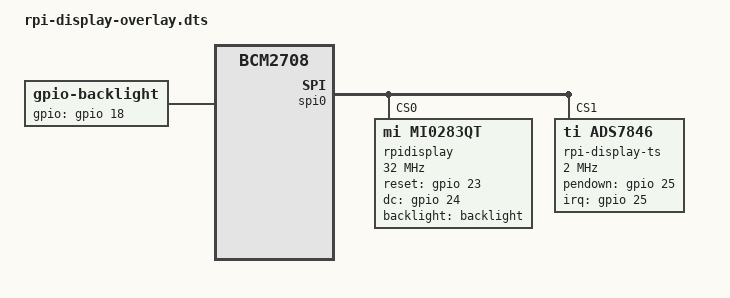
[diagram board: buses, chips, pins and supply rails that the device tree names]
/*
 * Device Tree overlay for rpi-display by Watterott
 *
 */

/dts-v1/;
/plugin/;

/ {
	compatible = "brcm,bcm2708";

	fragment@0 {
		target = <&spi0>;
		__overlay__ {
			status = "okay";

			spidev@0{
				status = "disabled";
			};

			spidev@1{
				status = "disabled";
			};
		};
	};

	fragment@1 {
		target = <&gpio>;
		__overlay__ {
			rpi_display_pins: rpi_display_pins {
				brcm,pins = <18 23 24 25>;
				brcm,function = <1 1 1 0>; /* out out out in */
			};
		};
	};

	fragment@2 {
		target = <&spi0>;
		__overlay__ {
			/* needed to avoid dtc warning */
			#address-cells = <1>;
			#size-cells = <0>;

			rpidisplay: rpi-display@0{
				compatible = "mi,mi0283qt";
				reg = <0>;
				pinctrl-names = "default";
				pinctrl-0 = <&rpi_display_pins>;

				spi-max-frequency = <32000000>;
				rotation = <0>;
				reset-gpios = <&gpio 23 0>;
				dc-gpios = <&gpio 24 0>;
				backlight = <&backlight>;
			};

			rpi-display-ts@1 {
				compatible = "ti,ads7846";
				reg = <1>;

				spi-max-frequency = <2000000>;
				interrupts = <25 2>; /* high-to-low edge triggered */
				interrupt-parent = <&gpio>;
				pendown-gpio = <&gpio 25 0>;
				ti,x-plate-ohms = /bits/ 16 <60>;
				ti,pressure-max = /bits/ 16 <255>;
			};
		};
	};

	fragment@3 {
		target-path = "/soc";
		__overlay__ {
			backlight: backlight {
				compatible = "gpio-backlight";
				gpios = <&gpio 18 0>;
			};
		};
	};

	__overrides__ {
		speed = <&rpidisplay>,"spi-max-frequency:0";
		rotation = <&rpidisplay>,"rotation:0";
		format = <&rpidisplay>,"format";
	};
};
